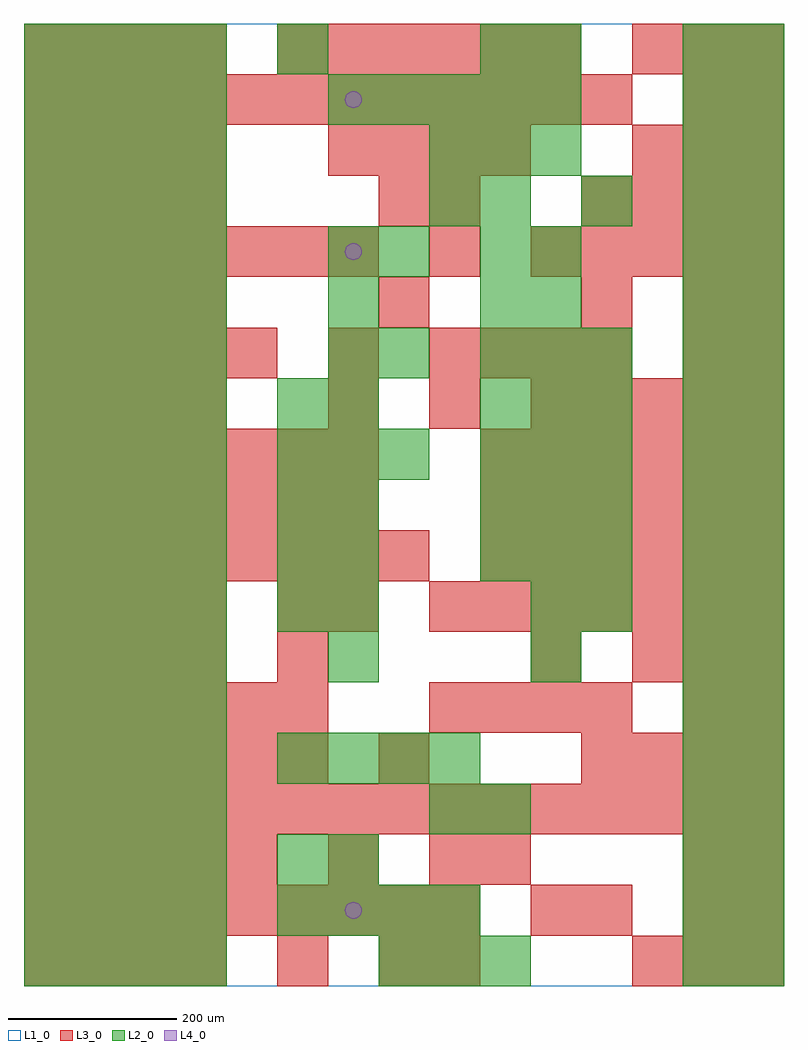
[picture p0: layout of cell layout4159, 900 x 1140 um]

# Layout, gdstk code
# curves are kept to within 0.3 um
import gdstk
lib = gdstk.Library(unit=1e-6, precision=1e-09)
def R(c, l, rs):  # rectangles x0, y0, x1, y1
    for r in rs: c.add(gdstk.rectangle(r[:2], r[2:], *l))
def A(c, l, x, y, w, h, nx, ny, dx, dy):  # array of equal rectangles
    R(c, l, [(x+i*dx, y+j*dy, x+i*dx+w, y+j*dy+h) for i in range(nx) for j in range(ny)])
def P(c, l, *ps):  # polygons
    for p in ps: c.add(gdstk.Polygon(p, *l))
L1_0 = (1, 0)
L2_0 = (2, 0)
L3_0 = (3, 0)
L4_0 = (4, 0)

layout4159 = lib.new_cell('layout4159')
R(layout4159, L1_0, [(0,0,900,1140)])
A(layout4159, L2_0, 0, 0, 60, 60, 4, 19, 60, 60)
A(layout4159, L2_0, 420, 0, 60, 60, 3, 1, 60, 0)
A(layout4159, L2_0, 780, 0, 60, 60, 1, 15, 0, 60)
A(layout4159, L2_0, 840, 0, 60, 60, 1, 19, 0, 60)
A(layout4159, L2_0, 300, 60, 60, 60, 4, 2, 60, 180)
A(layout4159, L2_0, 360, 360, 60, 60, 1, 4, 0, 60)
A(layout4159, L2_0, 300, 420, 60, 60, 1, 3, 0, 60)
A(layout4159, L2_0, 540, 480, 60, 60, 3, 5, 60, 60)
A(layout4159, L2_0, 300, 600, 60, 60, 3, 1, 60, 0)
A(layout4159, L2_0, 360, 660, 60, 60, 1, 4, 0, 60)
A(layout4159, L2_0, 540, 900, 60, 60, 3, 1, 120, 0)
A(layout4159, L2_0, 480, 960, 60, 60, 3, 1, 60, 0)
A(layout4159, L2_0, 780, 960, 60, 60, 1, 3, 0, 60)
A(layout4159, L2_0, 360, 1020, 60, 60, 5, 1, 60, 0)
R(layout4159, L2_0, [(300,120,360,180), (360,120,420,180), (480,180,540,240), (540,180,600,240), (600,360,660,420), (600,420,660,480), (660,420,720,480), (300,660,360,720), (420,720,480,780), (540,780,600,840), (600,780,660,840), (420,840,480,900), (540,840,600,900), (600,840,660,900), (480,900,540,960), (300,1080,360,1140), (540,1080,600,1140), (600,1080,660,1140)])
A(layout4159, L3_0, 0, 0, 60, 60, 4, 2, 60, 360)
A(layout4159, L3_0, 720, 0, 60, 60, 3, 2, 60, 360)
A(layout4159, L3_0, 0, 60, 60, 60, 9, 1, 60, 0)
A(layout4159, L3_0, 0, 120, 60, 60, 5, 2, 60, 600)
A(layout4159, L3_0, 360, 120, 60, 60, 1, 3, 0, 300)
A(layout4159, L3_0, 0, 180, 60, 60, 15, 1, 60, 0)
A(layout4159, L3_0, 0, 240, 60, 60, 6, 2, 60, 60)
A(layout4159, L3_0, 660, 240, 60, 60, 4, 2, 60, 420)
A(layout4159, L3_0, 480, 300, 60, 60, 4, 2, 60, 420)
A(layout4159, L3_0, 0, 420, 60, 60, 4, 2, 60, 240)
A(layout4159, L3_0, 480, 420, 60, 60, 7, 1, 60, 0)
A(layout4159, L3_0, 0, 480, 60, 60, 8, 1, 60, 0)
A(layout4159, L3_0, 540, 480, 60, 60, 6, 3, 60, 60)
A(layout4159, L3_0, 0, 540, 60, 60, 7, 2, 60, 60)
A(layout4159, L3_0, 360, 660, 60, 60, 3, 1, 120, 0)
A(layout4159, L3_0, 0, 780, 60, 60, 4, 2, 60, 120)
A(layout4159, L3_0, 0, 840, 60, 60, 7, 1, 60, 0)
A(layout4159, L3_0, 600, 840, 60, 60, 5, 1, 60, 0)
A(layout4159, L3_0, 660, 900, 60, 60, 4, 1, 60, 0)
A(layout4159, L3_0, 0, 960, 60, 60, 4, 2, 60, 120)
A(layout4159, L3_0, 360, 960, 60, 60, 4, 1, 60, 0)
A(layout4159, L3_0, 720, 960, 60, 60, 3, 2, 60, 120)
A(layout4159, L3_0, 0, 1020, 60, 60, 12, 1, 60, 0)
A(layout4159, L3_0, 300, 1080, 60, 60, 6, 1, 60, 0)
R(layout4159, L3_0, [(300,0,360,60), (420,0,480,60), (480,0,540,60), (600,60,660,120), (660,60,720,120), (780,60,840,120), (840,60,900,120), (480,120,540,180), (540,120,600,180), (780,120,840,180), (840,120,900,180), (420,240,480,300), (780,300,840,360), (840,300,900,360), (300,360,360,420), (600,360,660,420), (300,420,360,480), (780,720,840,780), (840,720,900,780), (420,780,480,840), (660,780,720,840), (780,780,840,840), (840,780,900,840), (480,840,540,900), (420,900,480,960), (480,900,540,960), (780,1020,840,1080), (840,1020,900,1080)])
P(layout4159, L4_0, [(400,90),(399.239,93.827),(397.071,97.071),(393.827,99.239),(390,100),(386.173,99.239),(382.929,97.071),(380.761,93.827),(380,90),(380.761,86.173),(382.929,82.929),(386.173,80.761),(390,80),(393.827,80.761),(397.071,82.929),(399.239,86.173)],
  [(400,870),(399.239,873.827),(397.071,877.071),(393.827,879.239),(390,880),(386.173,879.239),(382.929,877.071),(380.761,873.827),(380,870),(380.761,866.173),(382.929,862.929),(386.173,860.761),(390,860),(393.827,860.761),(397.071,862.929),(399.239,866.173)],
  [(400,1050),(399.239,1053.827),(397.071,1057.071),(393.827,1059.239),(390,1060),(386.173,1059.239),(382.929,1057.071),(380.761,1053.827),(380,1050),(380.761,1046.173),(382.929,1042.929),(386.173,1040.761),(390,1040),(393.827,1040.761),(397.071,1042.929),(399.239,1046.173)])

lib.write_gds('layout4159.gds')
